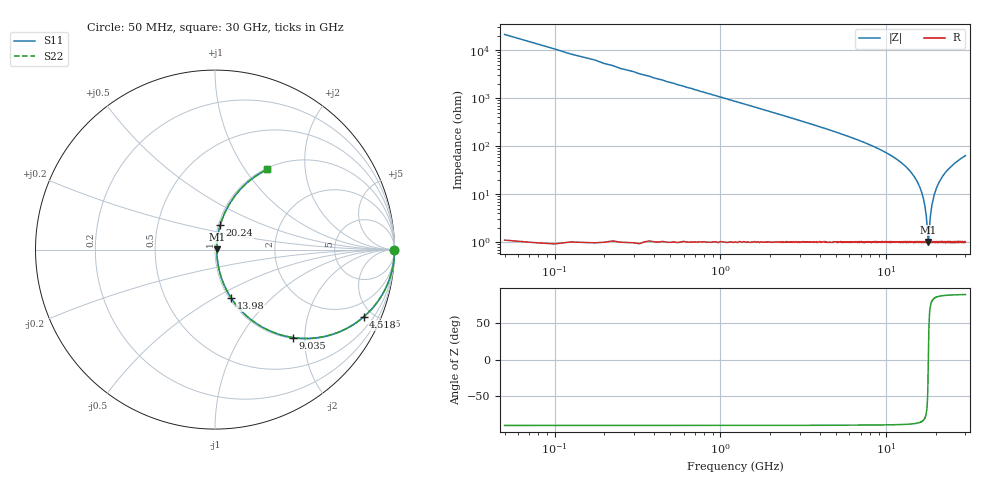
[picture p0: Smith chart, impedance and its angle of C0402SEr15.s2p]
!	AVX Thin Film Operation 	Date: April 2014
!	Description: Accu-P® Series, Thin Film  SMD RF Capacitor
!	Part Number: 04021JR15ZBSTR
# MHZ S MA R 50
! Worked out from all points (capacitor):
!   1201 points, 50 MHz to 30 GHz, reference 50 ohm
!   read as one part in series: C = 151 fF near 199.8 MHz
!   lowest |Z| = 1.01 ohm at 17.95 GHz (marker M1)
!   series resonance near 17.93 GHz, so ESL is about 520 pH
!   S11 on the Smith chart (normalised r, x): 50 MHz: open; 4.518 GHz: 1.02, -4.40; 9.035 GHz: 1.02, -1.75; 13.98 GHz: 1.02, -0.60; 20.24 GHz: 1.02, +0.29; 30 GHz: 1.02, +1.27
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50  1 -0.3  0.004712 89.7  0.004712 89.7  1 -0.3
249.667  1 -1.3  0.024 88.6  0.024 88.6  1 -1.3
424.375  0.999 -2.3  0.04 87.7  0.04 87.7  0.999 -2.3
1123.208  0.994 -6.1  0.106 83.9  0.106 83.9  0.994 -6.1
2446  0.973 -13.2  0.229 76.7  0.229 76.7  0.973 -13.2
4517.542  0.909 -24.4  0.413 65.3  0.413 65.3  0.909 -24.4
5041.667  0.887 -27.2  0.458 62.5  0.458 62.5  0.887 -27.2
9035  0.655 -48.4  0.748 40.9  0.748 40.9  0.655 -48.4
10058.29  0.582 -53.6  0.805 35.6  0.805 35.6  0.582 -53.6
13976.75  0.283 -71.6  0.949 16.4  0.949 16.4  0.283 -71.6
15025  0.204 -75.5  0.969 11.8  0.969 11.8  0.204 -75.5
16148.12  0.123 -78.3  0.983 7.0  0.983 7.0  0.123 -78.3
16921.83  0.069 -77.7  0.988 3.9  0.988 3.9  0.069 -77.7
17396.04  0.037 -72.3  0.989 2.0  0.989 2.0  0.037 -72.3
17945.12  0.01 3.8  0.99 -0.0  0.99 -0.0  0.01 3.8
18419.33  0.033 70.4  0.989 -1.8  0.989 -1.8  0.033 70.4
18768.75  0.054 76.3  0.989 -3.0  0.989 -3.0  0.054 76.3
20016.67  0.128 78.2  0.982 -7.3  0.982 -7.3  0.128 78.2
20241.29  0.141 77.9  0.98 -8.1  0.98 -8.1  0.141 77.9
22213  0.245 73.6  0.96 -14.2  0.96 -14.2  0.245 73.6
25033.29  0.37 66.9  0.92 -21.7  0.92 -21.7  0.37 66.9
30000  0.533 56.9  0.838 -32.2  0.838 -32.2  0.533 56.9
